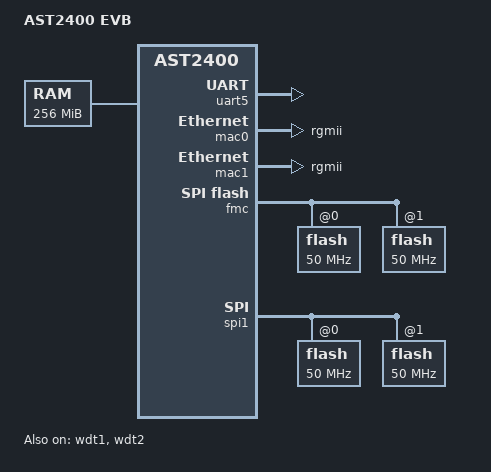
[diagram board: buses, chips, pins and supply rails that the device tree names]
/dts-v1/;

#include "ast2400-u-boot.dtsi"

/ {
        model = "AST2400 EVB";
        compatible = "aspeed,ast2400-evb", "aspeed,ast2400";

	memory {
		device_type = "memory";
		reg = <0x40000000 0x10000000>;
	};

	chosen {
		stdout-path = &uart5;
	};

	aliases {
		spi0 = &fmc;
		spi1 = &spi1;
		ethernet0 = &mac0;
		ethernet1 = &mac1;
	};
};

&uart5 {
	u-boot,dm-pre-reloc;
	status = "okay";
};

&sdrammc {
	clock-frequency = <200000000>;
};

&wdt1 {
	u-boot,dm-pre-reloc;
	status = "okay";
};

&wdt2 {
	u-boot,dm-pre-reloc;
	status = "okay";
};

&mac0 {
	status = "okay";
	phy-mode = "rgmii";

	pinctrl-names = "default";
	pinctrl-0 = <&pinctrl_mac1link_default &pinctrl_mdio1_default>;
};

&mac1 {
	status = "okay";
	phy-mode = "rgmii";
	pinctrl-names = "default";
	pinctrl-0 = <&pinctrl_mac2link_default &pinctrl_mdio2_default>;
};

&fmc {
	status = "okay";
	flash@0 {
		status = "okay";
		spi-max-frequency = <50000000>;
		spi-tx-bus-width = <2>;
		spi-rx-bus-width = <2>;
	};

	flash@1 {
                status = "okay";
                spi-max-frequency = <50000000>;
                spi-tx-bus-width = <2>;
                spi-rx-bus-width = <2>;
        };
};

&spi1 {
	status = "okay";
	flash@0 {
		pinctrl-names = "default";
		pinctrl-0 = <&pinctrl_spi1_default>;
		status = "okay";
		spi-max-frequency = <50000000>;
		spi-tx-bus-width = <2>;
		spi-rx-bus-width = <2>;
	};
	flash@1 {
		pinctrl-names = "default";
		pinctrl-0 = <&pinctrl_spi1_default &pinctrl_spi1cs1_default>;
		status = "okay";
		spi-max-frequency = <50000000>;
		spi-tx-bus-width = <2>;
		spi-rx-bus-width = <2>;
	};
};

